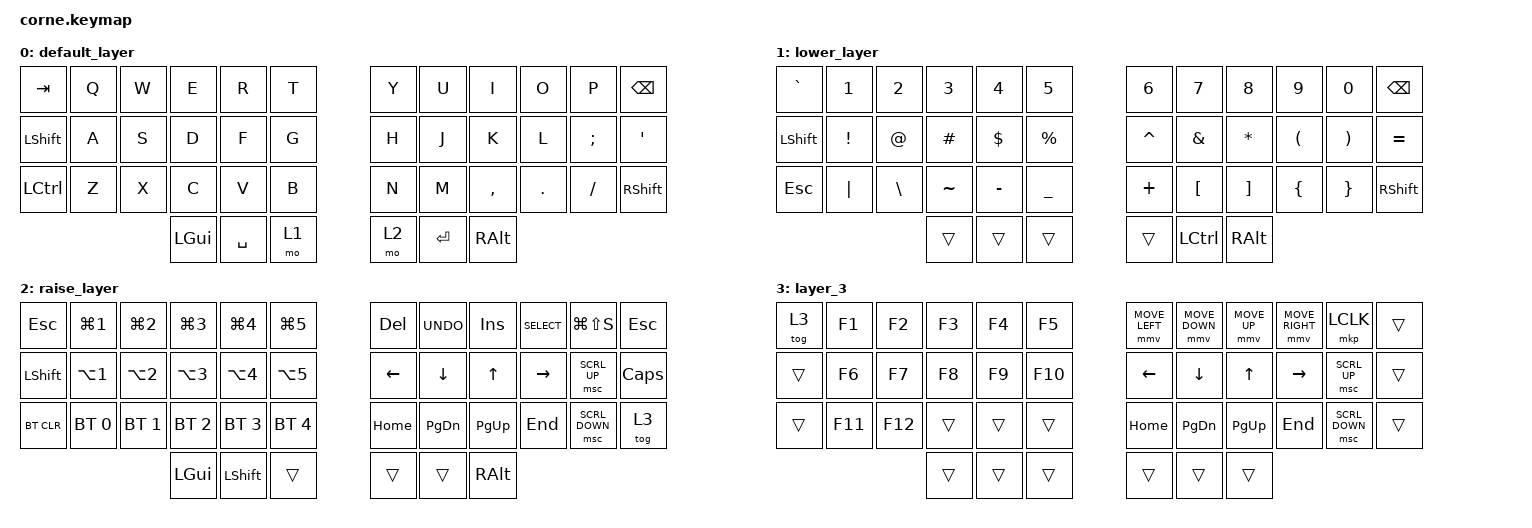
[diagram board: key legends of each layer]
/*
 * Copyright (c) 2020 The ZMK Contributors
 *
 * SPDX-License-Identifier: MIT
 */

#include <behaviors.dtsi>
#include <dt-bindings/zmk/bt.h>
#include <dt-bindings/zmk/keys.h>
#include <dt-bindings/zmk/pointing.h>

/ {
    keymap {
        compatible = "zmk,keymap";

        default_layer {
            // -----------------------------------------------------------------------------------------
            // |  TAB |  Q  |  W  |  E  |  R  |  T  |   |  Y  |  U   |  I  |  O  |  P  | BKSP |
            // | CTRL |  A  |  S  |  D  |  F  |  G  |   |  H  |  J   |  K  |  L  |  ;  |  '   |
            // | SHFT |  Z  |  X  |  C  |  V  |  B  |   |  N  |  M   |  ,  |  .  |  /  | ESC  |
            //                    | GUI | LWR | SPC |   | ENT | RSE  | ALT |

            bindings = <
&kp TAB         &kp Q  &kp W  &kp E     &kp R      &kp T    &kp Y  &kp U      &kp I      &kp O    &kp P     &kp BSPC
&kp LEFT_SHIFT  &kp A  &kp S  &kp D     &kp F      &kp G    &kp H  &kp J      &kp K      &kp L    &kp SEMI  &kp SQT
&kp LCTRL       &kp Z  &kp X  &kp C     &kp V      &kp B    &kp N  &kp M      &kp COMMA  &kp DOT  &kp FSLH  &kp RIGHT_SHIFT
                              &kp LGUI  &kp SPACE  &mo 1    &mo 2  &kp ENTER  &kp RALT
            >;
        };

        lower_layer {
            // -----------------------------------------------------------------------------------------
            // |  TAB |  1  |  2  |  3  |  4  |  5  |   |  6  |  7  |  8  |  9  |  0  | BKSP |
            // | BTCLR| BT1 | BT2 | BT3 | BT4 | BT5 |   | LFT | DWN |  UP | RGT |     |      |
            // | SHFT |     |     |     |     |     |   |     |     |     |     |     |      |
            //                    | GUI |     | SPC |   | ENT |     | ALT |

            bindings = <
&kp GRAVE       &kp N1           &kp N2         &kp N3     &kp N4      &kp N5            &kp N6     &kp N7            &kp N8             &kp N9                &kp N0                 &kp BSPC
&kp LEFT_SHIFT  &kp EXCLAMATION  &kp AT_SIGN    &kp HASH   &kp DOLLAR  &kp PERCENT       &kp CARET  &kp AMPERSAND     &kp ASTERISK       &kp LEFT_PARENTHESIS  &kp RIGHT_PARENTHESIS  &kp EQUAL
&kp ESCAPE      &kp PIPE         &kp BACKSLASH  &kp TILDE  &kp MINUS   &kp UNDERSCORE    &kp PLUS   &kp LEFT_BRACKET  &kp RIGHT_BRACKET  &kp LEFT_BRACE        &kp RIGHT_BRACE        &kp RIGHT_SHIFT
                                                &trans     &trans      &trans            &trans     &kp LEFT_CONTROL  &kp RALT
            >;
        };

        raise_layer {
            // -----------------------------------------------------------------------------------------
            // |  TAB |  !  |  @  |  #  |  $  |  %  |   |  ^  |  &  |  *  |  (  |  )  | BKSP |
            // | CTRL |     |     |     |     |     |   |  -  |  =  |  [  |  ]  |  \  |  `   |
            // | SHFT |     |     |     |     |     |   |  _  |  +  |  {  |  }  | "|" |  ~   |
            //                    | GUI |     | SPC |   | ENT |     | ALT |

            bindings = <
&kp ESCAPE      &kp LG(NUMBER_1)  &kp LG(NUMBER_2)  &kp LG(NUMBER_3)  &kp LG(NUMBER_4)  &kp LG(N5)          &kp DEL         &kp K_UNDO     &kp INS       &kp K_SELECT  &kp LG(LS(S))   &kp ESCAPE
&kp LEFT_SHIFT  &kp LA(NUMBER_1)  &kp LA(NUMBER_2)  &kp LA(NUMBER_3)  &kp LA(NUMBER_4)  &kp LA(NUMBER_5)    &kp LEFT_ARROW  &kp DOWN       &kp UP_ARROW  &kp RIGHT     &msc SCRL_UP    &kp CLCK
&bt BT_CLR      &bt BT_SEL 0      &bt BT_SEL 1      &bt BT_SEL 2      &bt BT_SEL 3      &bt BT_SEL 4        &kp HOME        &kp PAGE_DOWN  &kp PAGE_UP   &kp END       &msc SCRL_DOWN  &tog 3
                                                    &kp LGUI          &kp LSHFT         &trans              &trans          &trans         &kp RALT
            >;
        };

        layer_3 {
            bindings = <
&tog 3  &kp F1   &kp F2   &kp F3  &kp F4  &kp F5     &mmv MOVE_LEFT  &mmv MOVE_DOWN  &mmv MOVE_UP  &mmv MOVE_RIGHT  &mkp LCLK       &trans
&trans  &kp F6   &kp F7   &kp F8  &kp F9  &kp F10    &kp LEFT        &kp DOWN        &kp UP        &kp RIGHT        &msc SCRL_UP    &trans
&trans  &kp F11  &kp F12  &trans  &trans  &trans     &kp HOME        &kp PAGE_DOWN   &kp PAGE_UP   &kp END          &msc SCRL_DOWN  &trans
                          &trans  &trans  &trans     &trans          &trans          &trans
            >;
        };
    };
};
